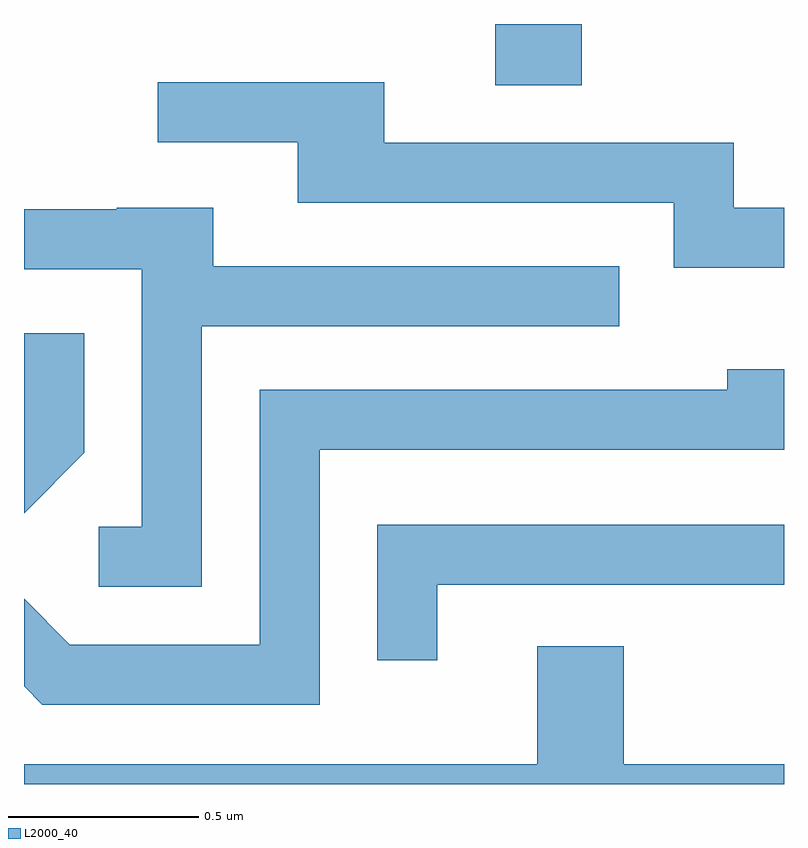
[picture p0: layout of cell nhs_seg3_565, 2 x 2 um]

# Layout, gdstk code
import gdstk
lib = gdstk.Library(unit=1e-6, precision=1e-09)
def R(c, l, rs):  # rectangles x0, y0, x1, y1
    for r in rs: c.add(gdstk.rectangle(r[:2], r[2:], *l))
def P(c, l, *ps):  # polygons
    for p in ps: c.add(gdstk.Polygon(p, *l))
L2000_40 = (2000, 40)

nhs_seg3_565 = lib.new_cell('nhs_seg3_565')
R(nhs_seg3_565, L2000_40, [(190.851,1134.731,191.079,1134.892)])
P(nhs_seg3_565, L2000_40, [(191.611,1134.409),(191.479,1134.409),(191.479,1134.579),(190.559,1134.579),(190.559,1134.739),(189.963,1134.739),(189.963,1134.581),(190.331,1134.581),(190.331,1134.421),(191.321,1134.421),(191.321,1134.251),(191.611,1134.251)],
  [(190.079,1134.096),(191.178,1134.096),(191.178,1134.254),(190.109,1134.254),(190.109,1134.409),(189.855,1134.409),(189.855,1134.404),(189.611,1134.404),(189.611,1134.246),(189.921,1134.246),(189.921,1133.569),(189.808,1133.569),(189.808,1133.411),(190.079,1133.411)],
  [(189.769,1133.764),(189.769,1134.078),(189.611,1134.078),(189.611,1133.605)],
  [(190.389,1133.771),(191.611,1133.771),(191.611,1133.984),(191.461,1133.984),(191.461,1133.929),(190.231,1133.929),(190.231,1133.259),(189.732,1133.259),(189.611,1133.38),(189.611,1133.149),(189.659,1133.101),(190.389,1133.101)],
  [(190.699,1133.416),(191.611,1133.416),(191.611,1133.574),(190.541,1133.574),(190.541,1133.218),(190.699,1133.218)],
  [(191.611,1132.944),(191.189,1132.944),(191.189,1133.254),(190.961,1133.254),(190.961,1132.944),(189.611,1132.944),(189.611,1132.892),(191.611,1132.892)])

lib.write_gds('nhs_seg3_565.gds')
